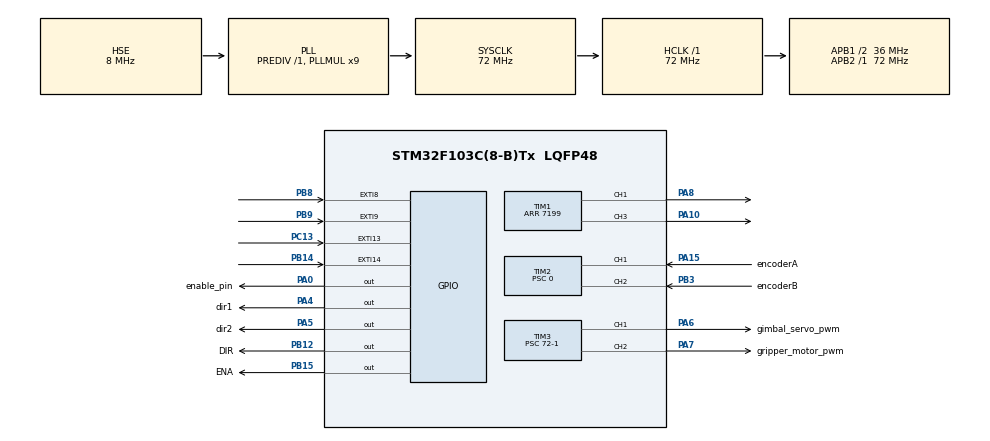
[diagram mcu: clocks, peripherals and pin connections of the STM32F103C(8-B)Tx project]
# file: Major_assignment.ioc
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Mcu.Family=STM32F1
Mcu.Name=STM32F103C(8-B)Tx
Mcu.Package=LQFP48
NVIC.EXTI15_10_IRQn=true\:2\:0\:false\:false\:true\:true\:true\:true
NVIC.EXTI9_5_IRQn=true\:2\:0\:false\:false\:true\:true\:true\:true
NVIC.PriorityGroup=NVIC_PRIORITYGROUP_4
NVIC.TIM1_UP_IRQn=true\:0\:0\:false\:false\:true\:true\:true\:true
NVIC.TIM2_IRQn=true\:0\:0\:false\:false\:true\:true\:true\:true
NVIC.TIM3_IRQn=true\:0\:0\:false\:false\:true\:true\:true\:true
NVIC.TIM4_IRQn=true\:1\:0\:false\:false\:true\:true\:true\:true
PA0-WKUP.GPIO_Label=enable_pin
PA0-WKUP.Signal=GPIO_Output
PA10.Signal=S_TIM1_CH3
PA13.Mode=Serial_Wire
PA13.Signal=SYS_JTMS-SWDIO
PA14.Mode=Serial_Wire
PA14.Signal=SYS_JTCK-SWCLK
PA15.GPIO_Label=encoderA
PA15.Signal=S_TIM2_CH1_ETR
PA4.GPIO_Label=dir1
PA4.PinState=GPIO_PIN_SET
PA4.Signal=GPIO_Output
PA5.GPIO_Label=dir2
PA5.PinState=GPIO_PIN_SET
PA5.Signal=GPIO_Output
PA6.GPIO_Label=gimbal_servo_pwm
PA6.Signal=S_TIM3_CH1
PA7.GPIO_Label=gripper_motor_pwm
PA7.Signal=S_TIM3_CH2
PA8.Signal=S_TIM1_CH1
PB12.GPIO_Label=DIR
PB12.Signal=GPIO_Output
PB14.GPIO_ModeDefaultEXTI=GPIO_MODE_IT_FALLING
PB14.GPIO_PuPd=GPIO_PULLUP
PB14.Signal=GPXTI14
PB15.GPIO_Label=ENA
PB15.PinState=GPIO_PIN_SET
PB15.Signal=GPIO_Output
PB3.GPIO_Label=encoderB
PB3.Signal=S_TIM2_CH2
PB8.GPIO_ModeDefaultEXTI=GPIO_MODE_IT_FALLING
PB8.GPIO_PuPd=GPIO_PULLUP
PB8.Signal=GPXTI8
PB9.GPIO_ModeDefaultEXTI=GPIO_MODE_IT_FALLING
PB9.GPIO_PuPd=GPIO_PULLUP
PB9.Signal=GPXTI9
PC13-TAMPER-RTC.GPIO_ModeDefaultEXTI=GPIO_MODE_IT_FALLING
PC13-TAMPER-RTC.GPIO_PuPd=GPIO_PULLUP
PC13-TAMPER-RTC.Signal=GPXTI13
PD0-OSC_IN.Mode=HSE-External-Oscillator
PD0-OSC_IN.Signal=RCC_OSC_IN
PD1-OSC_OUT.Mode=HSE-External-Oscillator
PD1-OSC_OUT.Signal=RCC_OSC_OUT
ProjectManager.HeapSize=0x200
ProjectManager.StackSize=0x400
ProjectManager.TargetToolchain=Makefile
RCC.AHBFreq_Value=72000000
RCC.APB1CLKDivider=RCC_HCLK_DIV2
RCC.APB1Freq_Value=36000000
RCC.APB1TimFreq_Value=72000000
RCC.APB2Freq_Value=72000000
RCC.APB2TimFreq_Value=72000000
RCC.HCLKFreq_Value=72000000
RCC.PLLMUL=RCC_PLL_MUL9
RCC.PLLSourceVirtual=RCC_PLLSOURCE_HSE
RCC.SYSCLKFreq_VALUE=72000000
RCC.SYSCLKSource=RCC_SYSCLKSOURCE_PLLCLK
RCC.USBFreq_Value=72000000
SH.S_TIM1_CH1.0=TIM1_CH1,PWM Generation1 CH1
SH.S_TIM1_CH3.0=TIM1_CH3,PWM Generation3 CH3
SH.S_TIM2_CH1_ETR.0=TIM2_CH1,Encoder_Interface
SH.S_TIM2_CH2.0=TIM2_CH2,Encoder_Interface
SH.S_TIM3_CH1.0=TIM3_CH1,PWM Generation1 CH1
SH.S_TIM3_CH2.0=TIM3_CH2,PWM Generation2 CH2
TIM1.AutoReloadPreload=TIM_AUTORELOAD_PRELOAD_ENABLE
TIM1.Channel-PWM\ Generation1\ CH1=TIM_CHANNEL_1
TIM1.Channel-PWM\ Generation3\ CH3=TIM_CHANNEL_3
TIM1.Period=7199
TIM2.EncoderMode=TIM_ENCODERMODE_TI12
TIM2.Period=65535
TIM2.Prescaler=0
TIM3.Channel-PWM\ Generation1\ CH1=TIM_CHANNEL_1
TIM3.Channel-PWM\ Generation2\ CH2=TIM_CHANNEL_2
TIM3.Period=19999
TIM3.Prescaler=72-1
TIM4.Period=10000-1
TIM4.Prescaler=72-1
VP_TIM1_VS_ClockSourceINT.Mode=Internal
VP_TIM3_VS_ClockSourceINT.Mode=Internal
VP_TIM4_VS_ClockSourceINT.Mode=Internal
board=custom

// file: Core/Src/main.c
/* USER CODE BEGIN Header */
/**
  ******************************************************************************
  * @file           : main.c
  * @brief          : Main program body
  ******************************************************************************
  * @attention
  *
  * Copyright (c) 2026 STMicroelectronics.
  * All rights reserved.
  *
  * This software is licensed under terms that can be found in the LICENSE file
  * in the root directory of this software component.
  * If no LICENSE file comes with this software, it is provided AS-IS.
  *
  ******************************************************************************
  */
/* USER CODE END Header */
#include "main.h"
#include "tim.h"
#include "gpio.h"

/* USER CODE BEGIN Includes */
#include "motor_control.h"
/* USER CODE END Includes */

/* USER CODE BEGIN PD */
#define BUTTON_DEBOUNCE_MS 10U
/* USER CODE END PD */

/* USER CODE BEGIN PV */
static volatile uint8_t button_event;
static volatile uint32_t last_button_tick;
/* USER CODE END PV */

void SystemClock_Config(void);

int main(void)
{

  /* MCU Configuration--------------------------------------------------------*/

  /* Reset of all peripherals, Initializes the Flash interface and the Systick. */
  HAL_Init();

  /* Configure the system clock */
  SystemClock_Config();

  /* Initialize all configured peripherals */
  MX_GPIO_Init();
  MX_TIM3_Init();
  MX_TIM1_Init();
  MX_TIM2_Init();
  MX_TIM4_Init();
  /* USER CODE BEGIN 2 */
  last_button_tick = HAL_GetTick() - BUTTON_DEBOUNCE_MS;

  if (MotorControl_Init() != HAL_OK)
  {
    while (1)
    {
    }
  }
  /* USER CODE END 2 */

  /* Infinite loop */
  while (1)
  {

    /* USER CODE BEGIN 3 */
    if (button_event != 0U)
    {
      button_event = 0U;
      MotorControlState state = MotorControl_GetState();
      if (state == MOTOR_CONTROL_READY)
      {
        (void)MotorControl_RunOnce();
      }
      else if (state == MOTOR_CONTROL_RUNNING)
      {
        MotorControl_RequestStop();
      }
      else if (state == MOTOR_CONTROL_DONE)
      {
        if (MotorControl_Rearm() == HAL_OK)
        {
          (void)MotorControl_RunOnce();
        }
      }
    }
  }
  /* USER CODE END 3 */
}

void SystemClock_Config(void)
{
  RCC_OscInitTypeDef RCC_OscInitStruct = {0};
  RCC_ClkInitTypeDef RCC_ClkInitStruct = {0};

  /** Initializes the RCC Oscillators according to the specified parameters
  * in the RCC_OscInitTypeDef structure.
  */
  RCC_OscInitStruct.OscillatorType = RCC_OSCILLATORTYPE_HSE;
  RCC_OscInitStruct.HSEState = RCC_HSE_ON;
  RCC_OscInitStruct.HSEPredivValue = RCC_HSE_PREDIV_DIV1;
  RCC_OscInitStruct.HSIState = RCC_HSI_ON;
  RCC_OscInitStruct.PLL.PLLState = RCC_PLL_ON;
  RCC_OscInitStruct.PLL.PLLSource = RCC_PLLSOURCE_HSE;
  RCC_OscInitStruct.PLL.PLLMUL = RCC_PLL_MUL9;
  if (HAL_RCC_OscConfig(&RCC_OscInitStruct) != HAL_OK)
  {
    Error_Handler();
  }

  /** Initializes the CPU, AHB and APB buses clocks
  */
  RCC_ClkInitStruct.ClockType = RCC_CLOCKTYPE_HCLK|RCC_CLOCKTYPE_SYSCLK
                              |RCC_CLOCKTYPE_PCLK1|RCC_CLOCKTYPE_PCLK2;
  RCC_ClkInitStruct.SYSCLKSource = RCC_SYSCLKSOURCE_PLLCLK;
  RCC_ClkInitStruct.AHBCLKDivider = RCC_SYSCLK_DIV1;
  RCC_ClkInitStruct.APB1CLKDivider = RCC_HCLK_DIV2;
  RCC_ClkInitStruct.APB2CLKDivider = RCC_HCLK_DIV1;

  if (HAL_RCC_ClockConfig(&RCC_ClkInitStruct, FLASH_LATENCY_2) != HAL_OK)
  {
    Error_Handler();
  }
}

/* USER CODE BEGIN 4 */
void HAL_GPIO_EXTI_Callback(uint16_t GPIO_Pin)
{
  if ((GPIO_Pin != SW1_Pin) && (GPIO_Pin != SW2_Pin) &&
      (GPIO_Pin != SW3_Pin) && (GPIO_Pin != SW4_Pin))
  {
    return;
  }

  uint32_t now = HAL_GetTick();
  if ((uint32_t)(now - last_button_tick) < BUTTON_DEBOUNCE_MS)
  {
    return;
  }
  last_button_tick = now;
  button_event = 1U;

  if (MotorControl_GetState() == MOTOR_CONTROL_RUNNING)
  {
    MotorControl_RequestStop();
  }
}
/* USER CODE END 4 */

void Error_Handler(void)
{
  /* USER CODE BEGIN Error_Handler_Debug */
  /* User can add his own implementation to report the HAL error return state */
  MotorControl_Stop();
  __disable_irq();
  while (1)
  {
  }
  /* USER CODE END Error_Handler_Debug */
}
